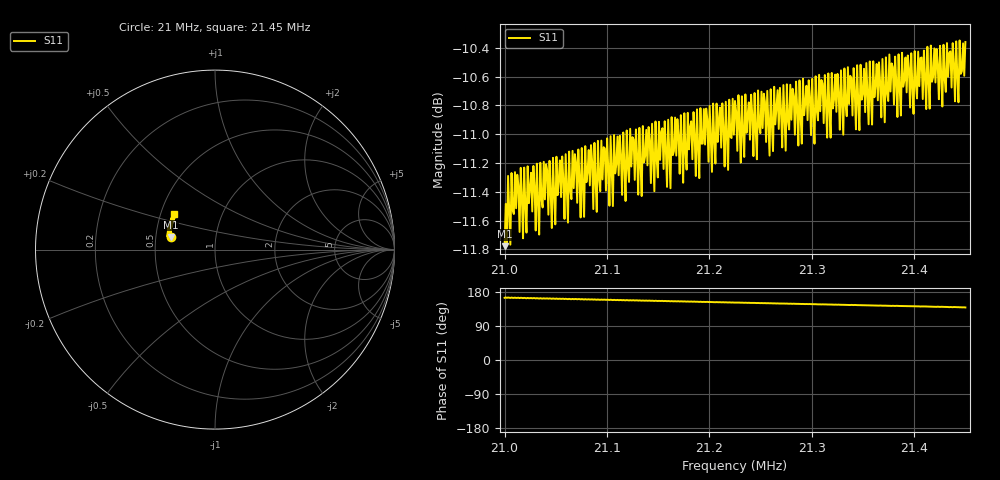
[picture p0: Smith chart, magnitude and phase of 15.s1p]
# Hz S RI R 50
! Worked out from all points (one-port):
!   401 points, 21 MHz to 21.45 MHz, reference 50 ohm
!   lowest |S11| = -11.8 dB at 21 MHz (marker M1), VSWR 1.69, Z = 29.9 + j4.5 ohm
!   |S11| at or under -10 dB: start of sweep to end of sweep
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2.1e7  -0.2479 0.0703
2.101125e7  -0.255 0.0744
2.101912e7  -0.2638 0.0756
2.1027e7  -0.253 0.0786
2.10315e7  -0.2635 0.0795
2.105625e7  -0.2627 0.0873
2.11125e7  -0.2614 0.1044
2.116875e7  -0.2583 0.1211
2.118788e7  -0.2582 0.1263
2.119575e7  -0.2493 0.1265
2.120362e7  -0.2573 0.1312
2.12115e7  -0.2466 0.1301
2.1216e7  -0.256 0.1346
2.1225e7  -0.2544 0.138
2.123175e7  -0.255 0.1393
2.125538e7  -0.2419 0.1411
2.125988e7  -0.2524 0.1471
2.128125e7  -0.2485 0.1538
2.130375e7  -0.2482 0.1598
2.131162e7  -0.2375 0.1564
2.131612e7  -0.2467 0.1633
2.13375e7  -0.2419 0.1694
2.134425e7  -0.2435 0.1715
2.139375e7  -0.2362 0.1853
2.142862e7  -0.232 0.1945
2.14365e7  -0.2231 0.1892
2.1441e7  -0.23 0.1981
2.145e7  -0.2277 0.2006
